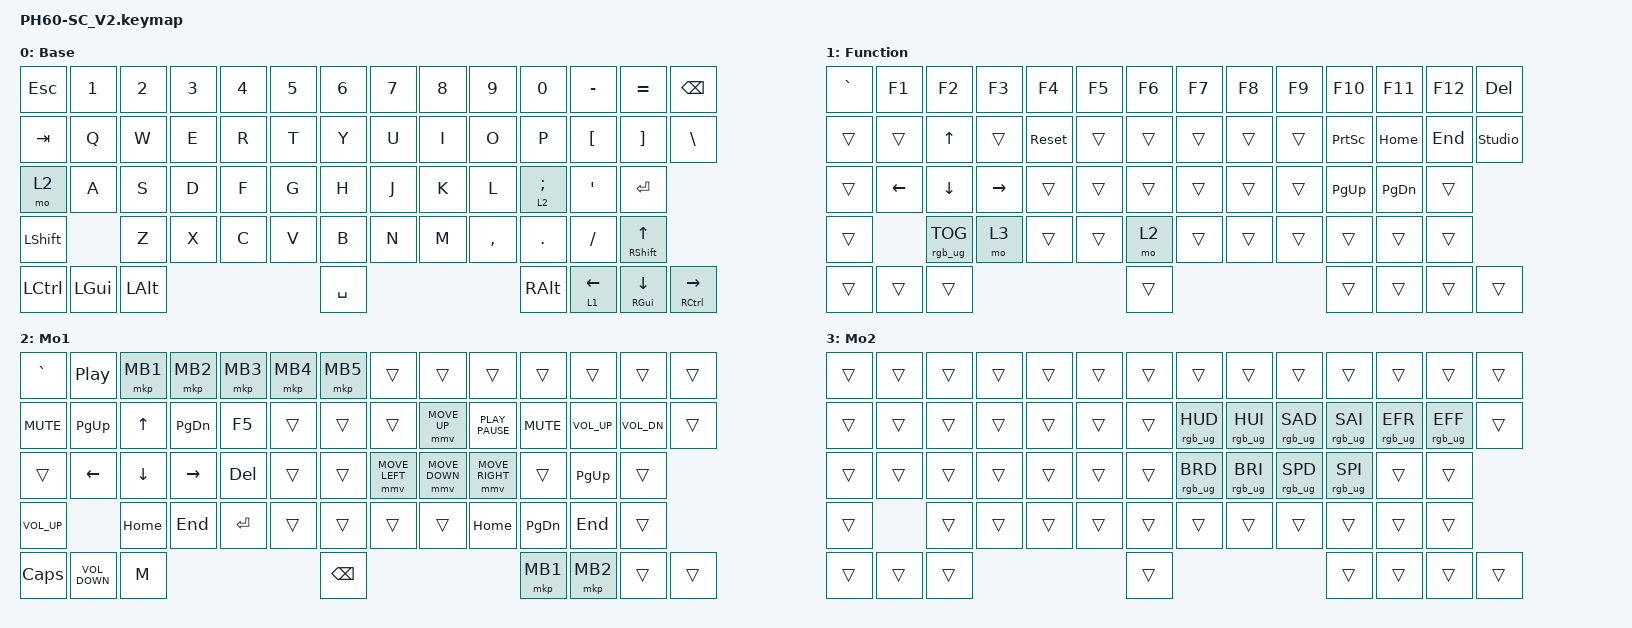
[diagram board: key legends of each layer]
/*
 * Copyright (c) 2025 Team PHDesign
 *
 * SPDX-License-Identifier: MIT
 */

#include <dt-bindings/zmk/hid_indicators.h>
#include <behaviors.dtsi>
#include <dt-bindings/zmk/bt.h>
#include <dt-bindings/zmk/keys.h>
#include <dt-bindings/zmk/pointing.h>
#include <dt-bindings/zmk/rgb.h>

#define LAYER_Base 0
#define LAYER_Function 1
#define LAYER_Bluetooth 2
#define LAYER_RGB 3

#include "PH60-SC_V2-rgb.dtsi"

/ {
    behaviors {
        #if IS_ENABLED(CONFIG_ZMK_BLE)

        // Macro to clear current BT profile (tap)

        bt_clear_current_macro: bt_clear_current_macro {
            compatible = "zmk,behavior-macro";
            #binding-cells = <0>;
            bindings = <&bt BT_CLR>;
        };

        // Macro to clear all BT profiles (hold)

        bt_clear_all_macro: bt_clear_all_macro {
            compatible = "zmk,behavior-macro";
            #binding-cells = <0>;
            bindings = <&bt BT_CLR_ALL>;
        };

        // Hold to clear all BT profiles, Tap to clear current

        bt_clear_holdtap: bt_clear_holdtap {
            compatible = "zmk,behavior-hold-tap";
            #binding-cells = <2>;
            flavor = "tap-preferred";
            tapping-term-ms = <3000>;
            bindings = <&bt_clear_all_macro>, <&bt_clear_current_macro>;
        };

        #endif = // Default mod-tap — hold-preferred, 200ms;;

        ht_def: ht_def {
            compatible = "zmk,behavior-hold-tap";
            #binding-cells = <2>;
            flavor = "hold-preferred";
            tapping-term-ms = <200>;
            bindings = <&kp>, <&kp>;
        };

        // Fast mod-tap — balanced, 150ms, quick-tap 100ms

        ht_fast: ht_fast {
            compatible = "zmk,behavior-hold-tap";
            #binding-cells = <2>;
            flavor = "balanced";
            tapping-term-ms = <150>;
            quick-tap-ms = <100>;
            bindings = <&kp>, <&kp>;
        };

        // Slow layer-tap — tap-preferred, 280ms, retro-tap on

        ht_slow: ht_slow {
            compatible = "zmk,behavior-hold-tap";
            #binding-cells = <2>;
            flavor = "tap-preferred";
            tapping-term-ms = <280>;
            retro-tap;
            bindings = <&mo>, <&kp>;
        };

        // User slots — default to hold-preferred 200ms, tweak in Studio

        ht_user1: ht_user1 {
            compatible = "zmk,behavior-hold-tap";
            #binding-cells = <2>;
            flavor = "hold-preferred";
            tapping-term-ms = <200>;
            bindings = <&kp>, <&kp>;
        };

        ht_user2: ht_user2 {
            compatible = "zmk,behavior-hold-tap";
            #binding-cells = <2>;
            flavor = "hold-preferred";
            tapping-term-ms = <200>;
            bindings = <&kp>, <&kp>;
        };

        ht_user3: ht_user3 {
            compatible = "zmk,behavior-hold-tap";
            #binding-cells = <2>;
            flavor = "hold-preferred";
            tapping-term-ms = <200>;
            bindings = <&kp>, <&kp>;
        };

        ht_user4: ht_user4 {
            compatible = "zmk,behavior-hold-tap";
            #binding-cells = <2>;
            flavor = "hold-preferred";
            tapping-term-ms = <200>;
            bindings = <&kp>, <&kp>;
        };
    };

    combos {
        compatible = "zmk,combos";

        combo_reserved_0 {
            reserved;
            key-positions = <0 1>;
            bindings = <&none>;
        };

        combo_reserved_1 {
            reserved;
            key-positions = <0 1>;
            bindings = <&none>;
        };

        combo_reserved_2 {
            reserved;
            key-positions = <0 1>;
            bindings = <&none>;
        };

        combo_reserved_3 {
            reserved;
            key-positions = <0 1>;
            bindings = <&none>;
        };

        combo_reserved_4 {
            reserved;
            key-positions = <0 1>;
            bindings = <&none>;
        };
    };

    macros {
    };

    keymap {
        compatible = "zmk,keymap";

        default_layer {
            display-name = "Base";
            bindings = <
&kp ESC    &kp N1    &kp N2    &kp N3  &kp N4  &kp N5  &kp N6     &kp N7  &kp N8  &kp N9     &kp N0           &kp MINUS   &kp EQUAL      &kp BSPC
&kp TAB    &kp Q     &kp W     &kp E   &kp R   &kp T   &kp Y      &kp U   &kp I   &kp O      &kp P            &kp LBKT    &kp RBKT       &kp BSLH
&mo 2      &kp A     &kp S     &kp D   &kp F   &kp G   &kp H      &kp J   &kp K   &kp L      &lt 2 SEMICOLON  &kp SQT     &kp RET
&kp LSHFT            &kp Z     &kp X   &kp C   &kp V   &kp B      &kp N   &kp M   &kp COMMA  &kp DOT          &kp SLASH   &mt RSHFT UP
&kp LCTRL  &kp LGUI  &kp LALT                          &kp SPACE                             &kp RALT         &lt 1 LEFT  &mt RGUI DOWN  &mt RCTRL RIGHT
            >;
        };

        function_layer {
            display-name = "Function";
            bindings = <
&kp GRAVE  &kp F1    &kp F2           &kp F3     &kp F4      &kp F5  &kp F6  &kp F7  &kp F8  &kp F9  &kp F10    &kp F11    &kp F12  &kp DEL
&trans     &trans    &kp UP           &trans     &sys_reset  &trans  &trans  &trans  &trans  &trans  &kp PSCRN  &kp HOME   &kp END  &studio_unlock
&trans     &kp LEFT  &kp DOWN         &kp RIGHT  &trans      &trans  &trans  &trans  &trans  &trans  &kp PG_UP  &kp PG_DN  &trans
&trans               &rgb_ug RGB_TOG  &mo 3      &trans      &trans  &mo 2   &trans  &trans  &trans  &trans     &trans     &trans
&trans     &trans    &trans                                          &trans                          &trans     &trans     &trans   &trans
            >;
        };

        bluetooth_layer {
            display-name = "Mo1";
            bindings = <
&kp GRAVE        &kp C_PLAY_PAUSE   &mkp MB1  &mkp MB2       &mkp MB3   &mkp MB4  &mkp MB5  &trans          &trans          &trans            &trans         &trans        &trans        &trans
&kp C_MUTE       &kp PAGE_UP        &kp UP    &kp PAGE_DOWN  &kp F5     &trans    &trans    &trans          &mmv MOVE_UP    &kp K_PLAY_PAUSE  &kp C_MUTE     &kp C_VOL_UP  &kp C_VOL_DN  &trans
&trans           &kp LEFT           &kp DOWN  &kp RIGHT      &kp DEL    &trans    &trans    &mmv MOVE_LEFT  &mmv MOVE_DOWN  &mmv MOVE_RIGHT   &trans         &kp PAGE_UP   &trans
&kp C_VOLUME_UP                     &kp HOME  &kp END        &kp ENTER  &trans    &trans    &trans          &trans          &kp HOME          &kp PAGE_DOWN  &kp END       &trans
&kp CAPSLOCK     &kp C_VOLUME_DOWN  &kp M                                         &kp BSPC                                                    &mkp MB1       &mkp MB2      &trans        &trans
            >;
        };

        rgb_layer {
            display-name = "Mo2";
            bindings = <
&trans  &trans  &trans  &trans  &trans  &trans  &trans  &trans           &trans           &trans           &trans           &trans           &trans           &trans
&trans  &trans  &trans  &trans  &trans  &trans  &trans  &rgb_ug RGB_HUD  &rgb_ug RGB_HUI  &rgb_ug RGB_SAD  &rgb_ug RGB_SAI  &rgb_ug RGB_EFR  &rgb_ug RGB_EFF  &trans
&trans  &trans  &trans  &trans  &trans  &trans  &trans  &rgb_ug RGB_BRD  &rgb_ug RGB_BRI  &rgb_ug RGB_SPD  &rgb_ug RGB_SPI  &trans           &trans
&trans          &trans  &trans  &trans  &trans  &trans  &trans           &trans           &trans           &trans           &trans           &trans
&trans  &trans  &trans                          &trans                                                     &trans           &trans           &trans           &trans
            >;
        };

        extra1 {
            display-name = "Extra 1";
            status = "reserved";
        };

        extra2 {
            display-name = "Extra 2";
            status = "reserved";
        };
    };
};
